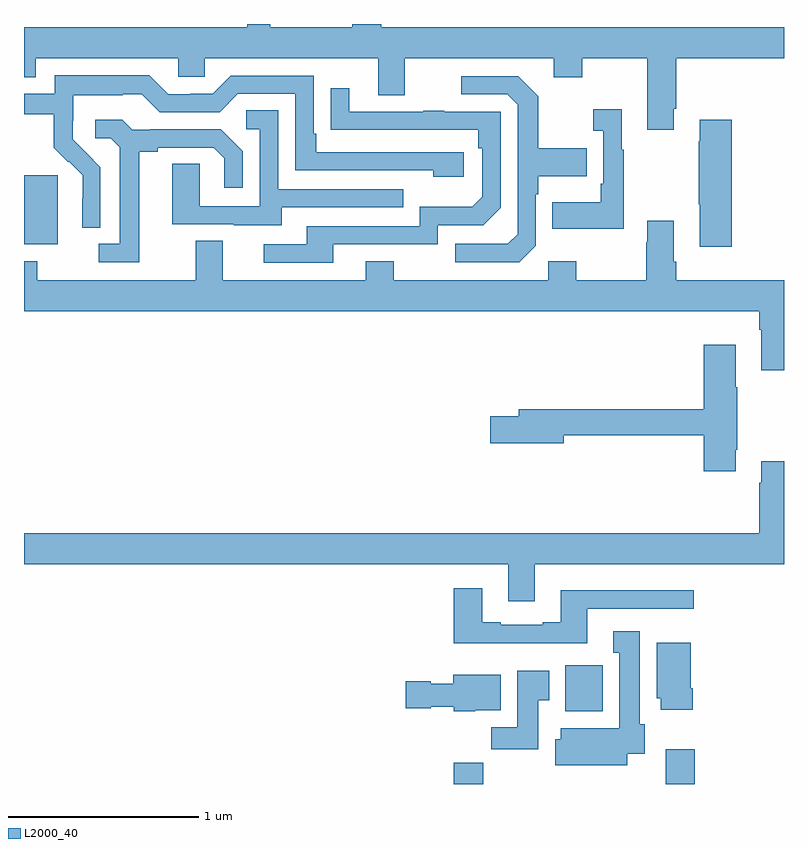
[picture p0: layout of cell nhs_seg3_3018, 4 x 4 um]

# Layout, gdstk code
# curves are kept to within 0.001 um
import gdstk
lib = gdstk.Library(unit=1e-6, precision=1e-09)
def R(c, l, rs):  # rectangles x0, y0, x1, y1
    for r in rs: c.add(gdstk.rectangle(r[:2], r[2:], *l))
def P(c, l, *ps):  # polygons
    for p in ps: c.add(gdstk.Polygon(p, *l))
L2000_40 = (2000, 40)

nhs_seg3_3018 = lib.new_cell('nhs_seg3_3018')
R(nhs_seg3_3018, L2000_40, [(269.261,726.4,269.417,726.512), (270.377,726.4,270.53,726.583), (269.849,726.782,270.046,727.024), (267,729.242,267.178,729.603)])
P(nhs_seg3_3018, L2000_40, [(268.175,730.4),(268.175,730.384),(267,730.384),(267,730.121),(267.061,730.121),(267.061,730.22),(267.813,730.22),(267.813,730.122),(267.951,730.122),(267.951,730.22),(268.865,730.22),(268.865,730.026),(269.005,730.026),(269.005,730.22),(269.789,730.22),(269.789,730.121),(269.937,730.121),(269.937,730.22),(270.281,730.22),(270.281,729.843),(270.421,729.843),(270.421,729.955),(270.434,729.955),(270.434,730.22),(271,730.22),(271,730.384),(268.88,730.384),(268.88,730.4),(268.727,730.4),(268.727,730.384),(268.297,730.384),(268.297,730.4)],
  [(267.402,729.646),(267.256,729.794),(267.256,729.891),(267.258,729.891),(267.258,730.025),(267.521,730.025),(267.521,730.029),(267.621,730.029),(267.714,729.936),(268.029,729.936),(268.125,730.032),(268.428,730.032),(268.428,729.63),(269.153,729.63),(269.153,729.596),(269.314,729.596),(269.314,729.726),(268.537,729.726),(268.537,729.823),(268.524,729.823),(268.524,730.128),(268.089,730.128),(267.993,730.032),(267.875,730.032),(267.875,730.029),(267.759,730.029),(267.659,730.129),(267.162,730.129),(267.162,730.032),(267,730.032),(267,729.924),(267.157,729.924),(267.157,729.749),(267.234,729.672),(267.237,729.675),(267.308,729.605),(267.308,729.482),(267.306,729.482),(267.306,729.328),(267.402,729.328)],
  [(269.694,729.234),(269.694,729.503),(269.707,729.503),(269.707,729.599),(269.963,729.599),(269.963,729.747),(269.707,729.747),(269.707,730.019),(269.601,730.125),(269.301,730.125),(269.301,730.029),(269.544,730.029),(269.598,729.975),(269.598,729.294),(269.547,729.243),(269.271,729.243),(269.271,729.147),(269.607,729.147)],
  [(268.627,729.24),(269.178,729.24),(269.178,729.342),(269.418,729.342),(269.508,729.432),(269.508,729.939),(269.213,729.939),(269.213,729.944),(269.101,729.944),(269.101,729.939),(268.711,729.939),(268.711,730.063),(268.615,730.063),(268.615,729.844),(269.392,729.843),(269.392,729.746),(269.412,729.746),(269.412,729.492),(269.359,729.439),(269.082,729.439),(269.082,729.336),(268.487,729.336),(268.487,729.24),(268.263,729.24),(268.263,729.144),(268.627,729.144)],
  [(270.157,729.739),(270.145,729.739),(270.145,729.952),(269.997,729.952),(269.997,729.839),(270.048,729.839),(270.048,729.559),(270.036,729.559),(270.036,729.463),(269.779,729.463),(269.779,729.323),(270.157,729.323)],
  [(268.357,729.435),(268.997,729.435),(268.997,729.531),(268.338,729.531),(268.338,729.947),(268.17,729.947),(268.17,729.846),(268.242,729.846),(268.242,729.441),(267.924,729.441),(267.924,729.665),(267.779,729.665),(267.779,729.345),(268.103,729.345),(268.103,729.341),(268.357,729.341)],
  [(267.607,729.728),(267.703,729.728),(267.703,729.75),(267.998,729.75),(268.055,729.693),(268.055,729.537),(268.152,729.537),(268.152,729.73),(268.036,729.846),(267.664,729.846),(267.664,729.843),(267.57,729.843),(267.518,729.895),(267.375,729.895),(267.375,729.798),(267.456,729.798),(267.503,729.751),(267.503,729.243),(267.393,729.243),(267.393,729.147),(267.607,729.147)],
  [(270.725,729.895),(270.557,729.895),(270.557,729.782),(270.55,729.782),(270.55,729.451),(270.557,729.451),(270.557,729.228),(270.725,729.228)],
  [(271,729.052),(270.434,729.052),(270.434,729.148),(270.421,729.148),(270.421,729.364),(270.281,729.364),(270.281,729.251),(270.274,729.251),(270.274,729.052),(269.907,729.052),(269.907,729.151),(269.76,729.151),(269.76,729.052),(268.947,729.052),(268.947,729.151),(268.799,729.151),(268.799,729.052),(268.045,729.052),(268.045,729.26),(267.905,729.26),(267.905,729.052),(267.069,729.052),(267.069,729.151),(267,729.151),(267,728.888),(270.869,728.888),(270.869,728.792),(270.881,728.792),(270.881,728.577),(271,728.577)],
  [(270.745,728.158),(270.753,728.158),(270.753,728.489),(270.745,728.489),(270.745,728.713),(270.578,728.713),(270.578,728.372),(269.603,728.372),(269.603,728.336),(269.454,728.336),(269.454,728.194),(269.842,728.194),(269.842,728.236),(270.578,728.236),(270.578,728.046),(270.745,728.046)],
  [(269.689,727.556),(271,727.556),(271,728.098),(270.881,728.098),(270.881,727.985),(270.869,727.985),(270.869,727.72),(267,727.72),(267,727.556),(269.549,727.556),(269.549,727.362),(269.689,727.362)],
  [(269.965,727.323),(270.526,727.323),(270.526,727.42),(269.825,727.42),(269.825,727.252),(269.729,727.252),(269.729,727.239),(269.509,727.239),(269.509,727.252),(269.413,727.252),(269.413,727.429),(269.261,727.429),(269.261,727.142),(269.965,727.142)],
  [(270.175,726.56),(270.268,726.56),(270.268,726.714),(270.241,726.714),(270.241,727.204),(270.101,727.204),(270.101,727.091),(270.134,727.091),(270.134,726.694),(269.825,726.694),(269.825,726.635),(269.795,726.635),(269.795,726.5),(270.175,726.5)],
  [(270.521,726.904),(270.508,726.904),(270.508,727.144),(270.329,727.144),(270.329,726.852),(270.35,726.852),(270.35,726.792),(270.521,726.792)],
  [(269.707,726.841),(269.764,726.841),(269.764,726.997),(269.597,726.997),(269.597,726.7),(269.458,726.7),(269.458,726.582),(269.707,726.582)],
  [(269.376,726.788),(269.509,726.788),(269.509,726.976),(269.258,726.976),(269.258,726.928),(269.142,726.928),(269.142,726.941),(269.01,726.941),(269.01,726.799),(269.142,726.799),(269.142,726.806),(269.262,726.806),(269.262,726.782),(269.376,726.782)])

lib.write_gds('nhs_seg3_3018.gds')
